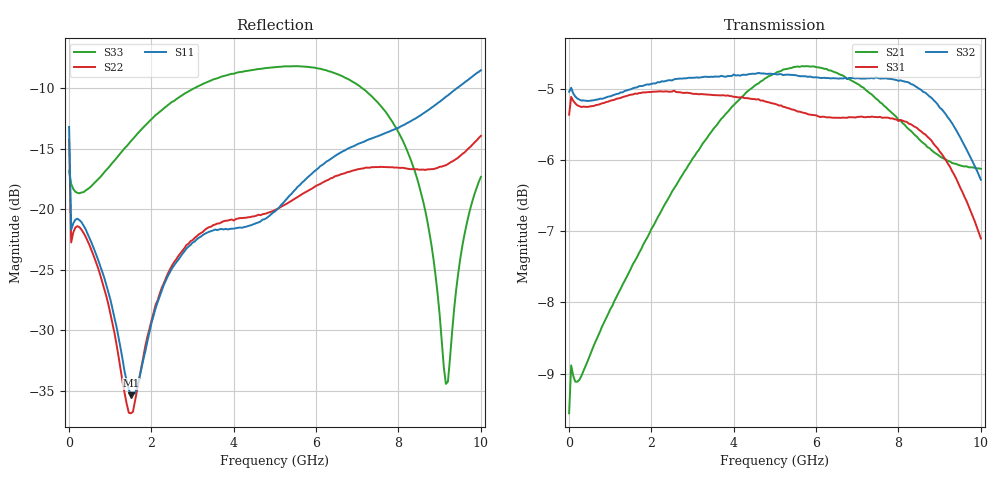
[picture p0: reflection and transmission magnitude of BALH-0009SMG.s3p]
! MARKI MICROWAVE INC.
! Email:  info@markimicrowave.com  Phone:  408-778-4200
! Model Number:  BAL-0009SMG  Date:  11/13
! Filename:		BAL-0009SMG.S3P  Version: 1.0
! Description:  3-port S-parameter data for Balun BAL-0009SMG
! Frequency Range: 	10 MHz to 10 GHz
! Port Configuration:	PORT 1: OUTPUT (0 DEGREE), PORT 2: OUTPUT (180 DEGREE), PORT 3: COMMON
! S3P File: Measurements: Mag<S11> Ang<S11> Mag<S12> Ang<S12> Mag<S13> Ang<S13>! row 1
!  Mag<S21> Ang<S21> Mag<S22> Ang<S22> Mag<S23> Ang<S23>! row 2
!  Mag<S31> Ang<S31> Mag<S32> Ang<S32> Mag<S33> Ang<S33>! row 3
# Hz S  dB  R 50
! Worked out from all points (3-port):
!   201 points, 10 MHz to 10 GHz, reference 50 ohm
!   strongest paths, dB at 10 MHz, 2.507 GHz, 5.005 GHz, 7.503 GHz, 10 GHz:
!     S32: -5.0, -4.9, -4.8, -4.9, -6.3
!     S31: -5.4, -5.0, -5.2, -5.4, -7.1
!     S21: -9.6, -6.4, -4.8, -5.2, -6.1
!   lowest |S11| = -35.4 dB at 1.508 GHz (marker M1), VSWR 1.03, Z = 49.2 + j1.51 ohm
!   |S11| at or under -10 dB: start of sweep to 9.42 GHz
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1e7  -13.21 130.2  -9.53 17.0  -5.36 5.4
     -9.56 17.0  -14.27 128.1  -5.05 -176.4
     -5.37 5.4  -5.04 -176.4  -16.82 46.7
1.5085e9  -35.38 116.0  -7.53 -95.4  -5.08 -120.7
          -7.53 -95.4  -36.87 -48.2  -4.99 57.4
          -5.09 -120.7  -5.01 57.4  -14.38 -157.9
2.35765e9  -25.88 129.6  -6.60 -155.1  -5.04 170.0
           -6.60 -155.1  -25.70 177.5  -4.89 -12.5
           -5.04 170.0  -4.89 -12.5  -11.53 119.2
3.3067e9  -22.02 74.3  -5.73 135.4  -5.07 92.7
          -5.73 135.4  -21.70 106.8  -4.83 -90.6
          -5.08 92.7  -4.83 -90.6  -9.57 35.9
5.005e9  -20.18 0.4  -4.78 6.6  -5.20 -46.3
         -4.79 6.5  -20.07 10.7  -4.79 130.2
         -5.21 -46.3  -4.79 130.2  -8.27 -95.3
6.2038e9  -16.21 -68.0  -4.72 -86.0  -5.40 -144.4
          -4.72 -86.1  -17.72 -62.6  -4.85 32.4
          -5.39 -144.4  -4.85 32.4  -8.49 174.2
7.35265e9  -14.16 -160.0  -5.08 -174.4  -5.40 120.6
           -5.08 -174.4  -16.53 -154.1  -4.85 -61.3
           -5.39 120.6  -4.85 -61.3  -10.67 83.5
8.55145e9  -12.20 81.8  -5.74 95.4  -5.60 18.2
           -5.74 95.3  -16.73 86.0  -5.02 -161.1
           -5.60 18.1  -5.02 -161.1  -18.71 -13.8
9.15085e9  -10.71 20.4  -6.00 51.2  -6.00 -34.0
           -6.00 51.1  -16.37 15.3  -5.36 148.5
           -6.00 -34.0  -5.36 148.5  -34.44 4.3
1e10  -8.52 -61.7  -6.13 -12.5  -7.09 -106.5
      -6.13 -12.5  -13.94 -85.2  -6.26 78.9
      -7.10 -106.5  -6.28 78.9  -17.33 15.2
